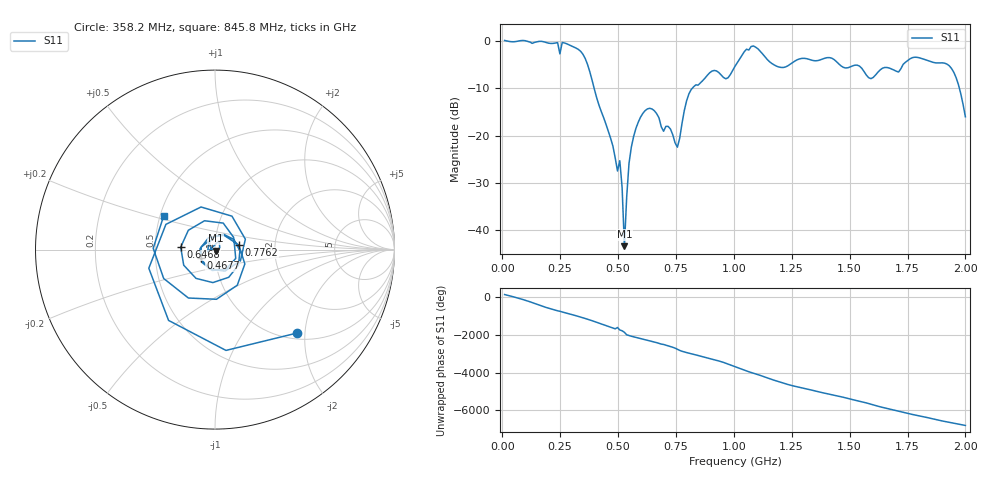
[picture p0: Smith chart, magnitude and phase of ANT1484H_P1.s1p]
!Created with skrf (http://scikit-rf.org).
# Hz S RI R 50.0
!freq ReS11 ImS11
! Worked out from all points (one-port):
!   201 points, 10 MHz to 2 GHz, reference 50 ohm
!   lowest |S11| = -43.3 dB at 527.4 MHz (marker M1), VSWR 1.01, Z = 50.3 - j0.593 ohm
!   |S11| at or under -10 dB: 396.8 MHz to 820.2 MHz (423.4 MHz wide, 69.6 % of centre); 1.974 GHz to end of sweep
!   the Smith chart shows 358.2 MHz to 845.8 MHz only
!   S11 on the Smith chart (normalised r, x): 358.2 MHz: 1.13, -1.83; 467.7 MHz: 0.85, -0.08; 646.8 MHz: 0.68, +0.02; 776.1 MHz: 1.30, +0.07; 845.8 MHz: 0.52, +0.22
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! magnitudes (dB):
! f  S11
! 10 MHz  0.1
! 238.8 MHz  -0.3
! 248.8 MHz  -2.7
! 258.8 MHz  -0.3
! 358.2 MHz  -3.7
! 467.7 MHz  -20.5
! 497.6 MHz  -27.5
! 507.5 MHz  -25.3
! 517.5 MHz  -30.9
! 527.4 MHz  -43.3
! 547.3 MHz  -25.8
! 557.2 MHz  -22.4
! 597 MHz  -16.1
! 646.8 MHz  -14.4
! 756.2 MHz  -22.4
! 776.1 MHz  -17.4
! 806 MHz  -11.2
! 845.8 MHz  -9.3
! 1.005 GHz  -5.3
! 1.085 GHz  -1.0
! 1.184 GHz  -5.3
! 1.254 GHz  -4.5
! 1.502 GHz  -5.5
! 1.592 GHz  -7.9
! 1.751 GHz  -4.1
! 1.93 GHz  -5.2
! 1.97 GHz  -9.3
! 2 GHz  -16.0
